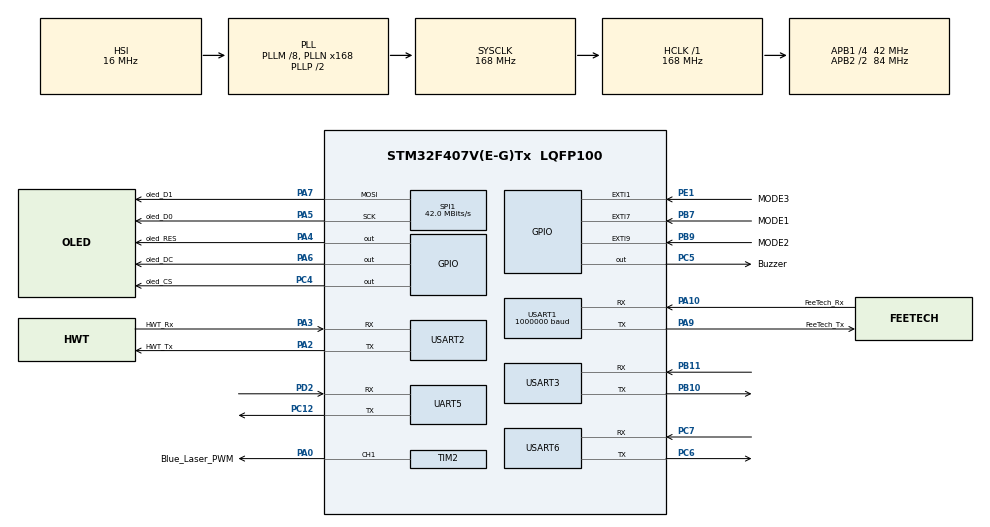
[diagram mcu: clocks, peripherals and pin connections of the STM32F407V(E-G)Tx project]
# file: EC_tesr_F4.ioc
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Mcu.Family=STM32F4
Mcu.Name=STM32F407V(E-G)Tx
Mcu.Package=LQFP100
NVIC.EXTI1_IRQn=true\:0\:0\:false\:false\:true\:true\:true\:true
NVIC.EXTI9_5_IRQn=true\:0\:0\:false\:false\:true\:true\:true\:true
NVIC.PriorityGroup=NVIC_PRIORITYGROUP_4
NVIC.TIM2_IRQn=true\:0\:0\:false\:false\:true\:true\:true\:true
NVIC.TIM3_IRQn=true\:0\:0\:false\:false\:true\:true\:true\:true
NVIC.USART1_IRQn=true\:0\:0\:false\:false\:true\:true\:true\:true
NVIC.USART2_IRQn=true\:0\:0\:false\:false\:true\:true\:true\:true
NVIC.USART3_IRQn=true\:0\:0\:false\:false\:true\:true\:true\:true
PA0-WKUP.GPIO_Label=Blue_Laser_PWM
PA0-WKUP.Signal=S_TIM2_CH1_ETR
PA10.GPIO_Label=FeeTech_Rx
PA10.Mode=Asynchronous
PA10.Signal=USART1_RX
PA13.Mode=Serial_Wire
PA13.Signal=SYS_JTMS-SWDIO
PA14.Mode=Serial_Wire
PA14.Signal=SYS_JTCK-SWCLK
PA2.GPIO_Label=HWT_Tx
PA2.Mode=Asynchronous
PA2.Signal=USART2_TX
PA3.GPIO_Label=HWT_Rx
PA3.Mode=Asynchronous
PA3.Signal=USART2_RX
PA4.GPIO_Label=oled_RES
PA4.GPIO_PuPd=GPIO_PULLDOWN
PA4.GPIO_Speed=GPIO_SPEED_FREQ_HIGH
PA4.Signal=GPIO_Output
PA5.GPIO_Label=oled_D0
PA5.Mode=TX_Only_Simplex_Unidirect_Master
PA5.Signal=SPI1_SCK
PA6.GPIO_Label=oled_DC
PA6.GPIO_PuPd=GPIO_PULLDOWN
PA6.GPIO_Speed=GPIO_SPEED_FREQ_HIGH
PA6.Signal=GPIO_Output
PA7.GPIO_Label=oled_D1
PA7.Mode=TX_Only_Simplex_Unidirect_Master
PA7.Signal=SPI1_MOSI
PA9.GPIO_Label=FeeTech_Tx
PA9.Mode=Asynchronous
PA9.Signal=USART1_TX
PB10.Mode=Asynchronous
PB10.Signal=USART3_TX
PB11.Mode=Asynchronous
PB11.Signal=USART3_RX
PB7.GPIO_Label=MODE1
PB7.GPIO_PuPd=GPIO_PULLUP
PB7.Signal=GPXTI7
PB9.GPIO_Label=MODE2
PB9.GPIO_PuPd=GPIO_PULLUP
PB9.Signal=GPXTI9
PC12.Mode=Asynchronous
PC12.Signal=UART5_TX
PC4.GPIO_Label=oled_CS
PC4.GPIO_PuPd=GPIO_PULLDOWN
PC4.GPIO_Speed=GPIO_SPEED_FREQ_HIGH
PC4.Signal=GPIO_Output
PC5.GPIO_Label=Buzzer
PC5.GPIO_PuPd=GPIO_PULLUP
PC5.Signal=GPIO_Output
PC6.Mode=Asynchronous
PC6.Signal=USART6_TX
PC7.Mode=Asynchronous
PC7.Signal=USART6_RX
PD2.Mode=Asynchronous
PD2.Signal=UART5_RX
PE1.GPIO_Label=MODE3
PE1.GPIO_PuPd=GPIO_PULLUP
PE1.Signal=GPXTI1
PH0-OSC_IN.Mode=HSE-External-Oscillator
PH0-OSC_IN.Signal=RCC_OSC_IN
PH1-OSC_OUT.Mode=HSE-External-Oscillator
PH1-OSC_OUT.Signal=RCC_OSC_OUT
ProjectManager.HeapSize=0x200
ProjectManager.StackSize=0x400
ProjectManager.TargetToolchain=Makefile
RCC.48MHZClocksFreq_Value=84000000
RCC.AHBFreq_Value=168000000
RCC.APB1CLKDivider=RCC_HCLK_DIV4
RCC.APB1Freq_Value=42000000
RCC.APB1TimFreq_Value=84000000
RCC.APB2CLKDivider=RCC_HCLK_DIV2
RCC.APB2Freq_Value=84000000
RCC.APB2TimFreq_Value=168000000
RCC.CortexFreq_Value=168000000
RCC.HCLKFreq_Value=168000000
RCC.HSE_VALUE=25000000
RCC.HSI_VALUE=16000000
RCC.LSE_VALUE=32768
RCC.PLLM=8
RCC.PLLN=168
RCC.SYSCLKFreq_VALUE=168000000
RCC.SYSCLKSource=RCC_SYSCLKSOURCE_PLLCLK
RCC.VCOOutputFreq_Value=336000000
SH.S_TIM2_CH1_ETR.0=TIM2_CH1,PWM Generation1 CH1
SPI1.CalculateBaudRate=42.0 MBits/s
SPI1.Direction=SPI_DIRECTION_2LINES
SPI1.Mode=SPI_MODE_MASTER
SPI1.VirtualType=VM_MASTER
TIM1.Period=0
TIM1.Prescaler=168-1
TIM2.Channel-PWM\ Generation1\ CH1=TIM_CHANNEL_1
TIM2.Period=999
TIM2.Prescaler=167
TIM3.Period=10000-1
TIM3.Prescaler=167
UART5.VirtualMode=Asynchronous
USART1.BaudRate=1000000
USART1.VirtualMode=VM_ASYNC
USART2.VirtualMode=VM_ASYNC
USART3.VirtualMode=VM_ASYNC
USART6.VirtualMode=VM_ASYNC
VP_TIM1_VS_ClockSourceINT.Mode=Internal
VP_TIM2_VS_ClockSourceINT.Mode=Internal
VP_TIM3_VS_ClockSourceINT.Mode=Internal
board=custom

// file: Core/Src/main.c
/* USER CODE BEGIN Header */
/**
 ******************************************************************************
 * @file           : main.c
 * @brief          : Main program body
 ******************************************************************************
 * @attention
 *
 * Copyright (c) 2025 STMicroelectronics.
 * All rights reserved.
 *
 * This software is licensed under terms that can be found in the LICENSE file
 * in the root directory of this software component.
 * If no LICENSE file comes with this software, it is provided AS-IS.
 *
 ******************************************************************************
 */
/* USER CODE END Header */
#include "main.h"
#include "spi.h"
#include "tim.h"
#include "usart.h"
#include "gpio.h"

/* USER CODE BEGIN Includes */
// #include "HWT101CT_sdk.h"
#include "io_retargetToUart.h"
#include "HWT101CT_sdk.h"
#include "my_uart.h"
#include "wtr_calculate.h"

#include "SCServo.h"
#include "HWT_user.h"
#include "stdio.h"
#include "stdlib.h"
/* USER CODE END Includes */

/* USER CODE BEGIN PD */
#define PITCH 1
#define YAW   2
/* USER CODE END PD */

void SystemClock_Config(void);

/* USER CODE BEGIN 0 */

uint16_t initial_angle_yaw;
uint16_t initial_angle_pitch;
PID_t pid_x, pid_y;
uint8_t mode;
/* USER CODE END 0 */

int main(void)
{

  /* MCU Configuration--------------------------------------------------------*/

  /* Reset of all peripherals, Initializes the Flash interface and the Systick. */
  HAL_Init();

  /* Configure the system clock */
  SystemClock_Config();

  /* Initialize all configured peripherals */
  MX_GPIO_Init();
  MX_SPI1_Init();
  MX_TIM1_Init();
  MX_TIM2_Init();
  MX_USART1_UART_Init();
  MX_USART2_UART_Init();
  MX_USART6_UART_Init();
  MX_USART3_UART_Init();
  MX_TIM3_Init();
  MX_UART5_Init();
  /* USER CODE BEGIN 2 */

  HAL_UART_Receive_IT(&huart3, rx_buffer, sizeof(rx_buffer));
  HAL_TIM_Base_Start_IT(&htim2);
  HAL_TIM_Base_Start_IT(&htim3);
  HAL_TIM_PWM_Start(&htim2, TIM_CHANNEL_1);

  WriteSpe(PITCH, 0, 0);           // pitch
  WriteSpe(YAW, 0, 0);             // yaw
  pid_init(&pid_x, 1, 0.08, 0.00); // yaw - 增加响应速度
  pid_init(&pid_y, 1, 0.05, 0.0);   // pitch

  uint8_t no_find_flag = 1; // 标记目标丢失的时�???????
  uint8_t find_flag    = 0; // 标记目标是否被锁定（几乎到达中心�???????
  uint8_t init_flag    = 0; // 标记在目标未找到时是否处于初始化状�??
  uint16_t yaw_pos_target = 0; // 目标位置
  uint16_t pitch_pos_target = 0; // 目标位置
  /* USER CODE END 2 */

  /* Infinite loop */
  /* USER CODE BEGIN WHILE */

    while (1) {
        // WriteSpe(1, -50, 50); // 正向上，相机向上变大
        // WriteSpe(2, 50, 50); // 正向右，相机向右变小
    /* USER CODE END WHILE */

    /* USER CODE BEGIN 3 */
    if(mode==1)
    {
      WheelMode(YAW, 0);
      WritePosEx(YAW, 2220+512, 500, 100); // 45°,具体的待�??
      __HAL_TIM_SET_COMPARE(&htim2, TIM_CHANNEL_1, 100); /*设置PWM占空�??*/
    }
    if(mode==3)
    {
      if(find_flag==0)
      {
       if(rx_data[0]==rx_data[1]&&rx_data[0]==0) // 目标丢失
       {
           no_find_flag ++;
           if(no_find_flag > 10) // 连续10次丢失目�??
           {
               WheelMode(PITCH, 0);
               WheelMode(YAW, 1);
               WritePosEx(PITCH, 2250, 50,100);
               WriteSpe(YAW, -400, 100);
               printf("nofound\n");
           }else
               printf("nofoundonce\n");

    }else{
      no_find_flag = 0;
      WheelMode(YAW, 1);
      WheelMode(PITCH, 1);
      //int16_t error_yaw = rx_data[0] - 298; // 298为中心点;
      speedServo(rx_data[0], 298, &pid_x); // pitch
      speedServo(rx_data[1], 250, &pid_y); // pitch
      WriteSpe(YAW, -1 * pid_x.output, 100); // 发�?�目标位�??
      WriteSpe(PITCH,  pid_y.output, 100); // 发�?�目标位�??
      if(abs(rx_data[0]-298)<8&&abs(rx_data[1]-250)<8) // 如果目标在中心点附近
       {
          yaw_pos_target = ReadPos(YAW);
          pitch_pos_target = ReadPos(PITCH);
          //WriteSpe(YAW, 0, 0);
          //find_flag = 1;          // 目标被锁定ri
          __HAL_TIM_SET_COMPARE(&htim2, TIM_CHANNEL_1, 100); /*设置PWM占空�??*/
          WheelMode(YAW, 0);
          WheelMode(PITCH, 0);
          WritePosEx(YAW, yaw_pos_target, 500, 100); // HAL_Delay(10000); // 延时100ms
          WritePosEx(PITCH, pitch_pos_target, 500, 100); // HAL_Delay(10000); // 延时100ms
       } // 如果目标未被锁定
      }
    }
      else if(find_flag==1)
      {
           //WriteSpe(YAW, 0, 0); // 停止
           WheelMode(YAW, 0);
           WheelMode(PITCH, 0);
           WritePosEx(YAW, yaw_pos_target, 500, 100); // HAL_Delay(10000); // 延时100ms
           WritePosEx(PITCH, pitch_pos_target, 500, 100);
      }
       printf("%d,%d,%f,%f\n", rx_data[0],rx_data[1], pid_x.output,pid_y.output);

  }

}
  /* USER CODE END 3 */
}

void SystemClock_Config(void)
{
  RCC_OscInitTypeDef RCC_OscInitStruct = {0};
  RCC_ClkInitTypeDef RCC_ClkInitStruct = {0};

  /** Configure the main internal regulator output voltage
  */
  __HAL_RCC_PWR_CLK_ENABLE();
  __HAL_PWR_VOLTAGESCALING_CONFIG(PWR_REGULATOR_VOLTAGE_SCALE1);

  /** Initializes the RCC Oscillators according to the specified parameters
  * in the RCC_OscInitTypeDef structure.
  */
  RCC_OscInitStruct.OscillatorType = RCC_OSCILLATORTYPE_HSI;
  RCC_OscInitStruct.HSIState = RCC_HSI_ON;
  RCC_OscInitStruct.HSICalibrationValue = RCC_HSICALIBRATION_DEFAULT;
  RCC_OscInitStruct.PLL.PLLState = RCC_PLL_ON;
  RCC_OscInitStruct.PLL.PLLSource = RCC_PLLSOURCE_HSI;
  RCC_OscInitStruct.PLL.PLLM = 8;
  RCC_OscInitStruct.PLL.PLLN = 168;
  RCC_OscInitStruct.PLL.PLLP = RCC_PLLP_DIV2;
  RCC_OscInitStruct.PLL.PLLQ = 4;
  if (HAL_RCC_OscConfig(&RCC_OscInitStruct) != HAL_OK)
  {
    Error_Handler();
  }

  /** Initializes the CPU, AHB and APB buses clocks
  */
  RCC_ClkInitStruct.ClockType = RCC_CLOCKTYPE_HCLK|RCC_CLOCKTYPE_SYSCLK
                              |RCC_CLOCKTYPE_PCLK1|RCC_CLOCKTYPE_PCLK2;
  RCC_ClkInitStruct.SYSCLKSource = RCC_SYSCLKSOURCE_PLLCLK;
  RCC_ClkInitStruct.AHBCLKDivider = RCC_SYSCLK_DIV1;
  RCC_ClkInitStruct.APB1CLKDivider = RCC_HCLK_DIV4;
  RCC_ClkInitStruct.APB2CLKDivider = RCC_HCLK_DIV2;

  if (HAL_RCC_ClockConfig(&RCC_ClkInitStruct, FLASH_LATENCY_5) != HAL_OK)
  {
    Error_Handler();
  }
}

/* USER CODE BEGIN 4 */
void HAL_GPIO_EXTI_Callback(uint16_t GPIO_Pin)
{
    if (GPIO_Pin == MODE1_Pin) // 引脚判断
    {
        mode = 1;
    }
    if (GPIO_Pin == MODE2_Pin) // 引脚判断
    {
        mode = 2;
    }
    if (GPIO_Pin == MODE3_Pin) // 引脚判断
    {
        mode = 3;
    }
}
/* USER CODE END 4 */

void Error_Handler(void)
{
    __disable_irq();
    while (1) {
    }
}
